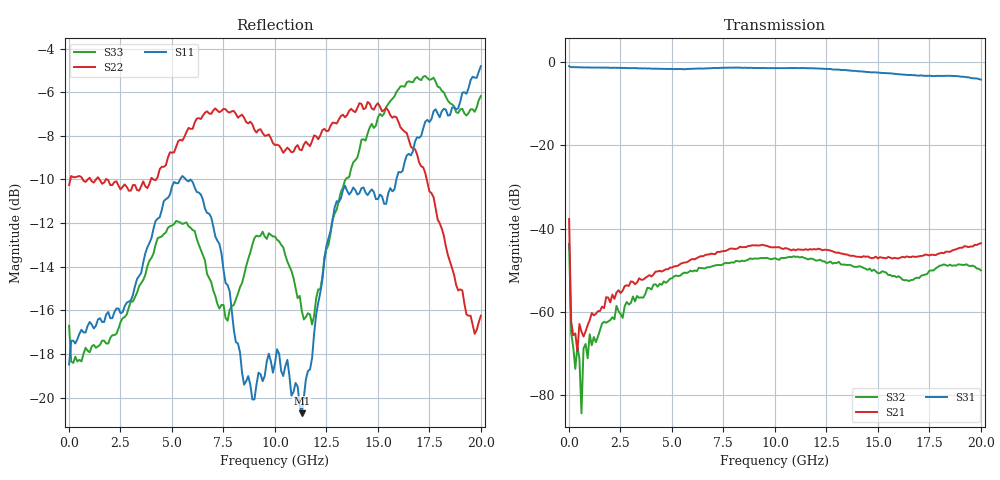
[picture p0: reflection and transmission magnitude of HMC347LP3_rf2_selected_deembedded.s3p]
!Hittite Microwave Corporation
!12 Elizabeth Drive
!Chelmsford, MA 01824
!Tel: 978-250-3343
!Fax: 978-250-3373
!Device: HMC347LP3, DC - 14 GHz GaAs MMIC SPDT Non-Reflective Switch in leadless QFN SMT package
!Misc: Port1=RFC, Port2= RF1, Port3=RF2, RF2 ON, Data includes two SRI SMA sonnectors, Bias: -5VDC
# MHZ S MA R 50
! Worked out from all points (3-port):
!   201 points, 10 MHz to 20 GHz, reference 50 ohm
!   strongest paths, dB at 10 MHz, 5.008 GHz, 10.01 GHz, 15 GHz, 20 GHz:
!     S31: -1.1, -1.7, -1.5, -2.6, -4.3
!     S21: -37.7, -49.3, -44.5, -47.2, -43.5
!     S32: -43.7, -51.9, -47.1, -50.7, -50.0
!   lowest |S11| = -20.7 dB at 11.3 GHz (marker M1), VSWR 1.20, Z = 45.1 + j7.26 ohm
!   |S11| at or under -10 dB: start of sweep to 5.396 GHz; 5.676 GHz to 15.9 GHz (10.22 GHz wide, 94.8 % of centre)
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10  0.119 4.2  0.013 143.6  0.919 -3.0
    0.013 -175.3  0.307 178.3  0.018 -173.1
    0.886 -3.1  0.006543 -90.4  0.146 21.8
109.95  0.135 -3.3  0.0002494 -93.7  0.865 -5.0
        0.0007664 -66.4  0.322 174.3  0.0002974 -112.4
        0.861 -5.2  0.0005614 -13.5  0.121 -3.4
509.75  0.14 -14.4  0.0005517 46.8  0.859 -22.4
        0.0007163 63.6  0.322 155.8  8.548e-05 -88.7
        0.859 -22.4  0.0002753 -88.8  0.122 -16.4
3908.05  0.226 -113.2  0.002777 -36.9  0.828 -166.9
         0.002762 -39.0  0.309 -7.9  0.001779 61.3
         0.833 -167.0  0.001928 54.9  0.206 -115.2
6506.75  0.284 151.1  0.004657 -117.0  0.833 84.5
         0.004656 -118.3  0.443 -116.6  0.003346 -67.0
         0.83 84.3  0.00335 -66.6  0.212 163.1
10005  0.12 121.3  0.005934 104.8  0.838 -68.2
       0.005984 103.6  0.379 118.9  0.004296 126.2
       0.838 -68.3  0.004416 125.5  0.234 -81.3
11304.35  0.092 119.8  0.005621 61.0  0.843 -125.4
          0.005568 61.1  0.369 57.5  0.004567 63.9
          0.841 -125.4  0.004569 64.1  0.158 -165.6
14302.85  0.303 29.1  0.004438 -39.0  0.764 101.0
          0.004659 -41.4  0.458 -47.5  0.003413 -60.4
          0.761 101.1  0.003374 -62.4  0.391 8.3
16701.65  0.367 -126.8  0.004613 -105.8  0.695 -2.1
          0.004635 -108.8  0.372 -97.1  0.002434 -126.0
          0.691 -2.3  0.002423 -124.9  0.528 -51.0
20000  0.575 128.7  0.006383 136.5  0.612 -146.9
       0.006668 138.3  0.154 161.4  0.003191 107.4
       0.611 -146.9  0.003149 106.5  0.491 132.8
